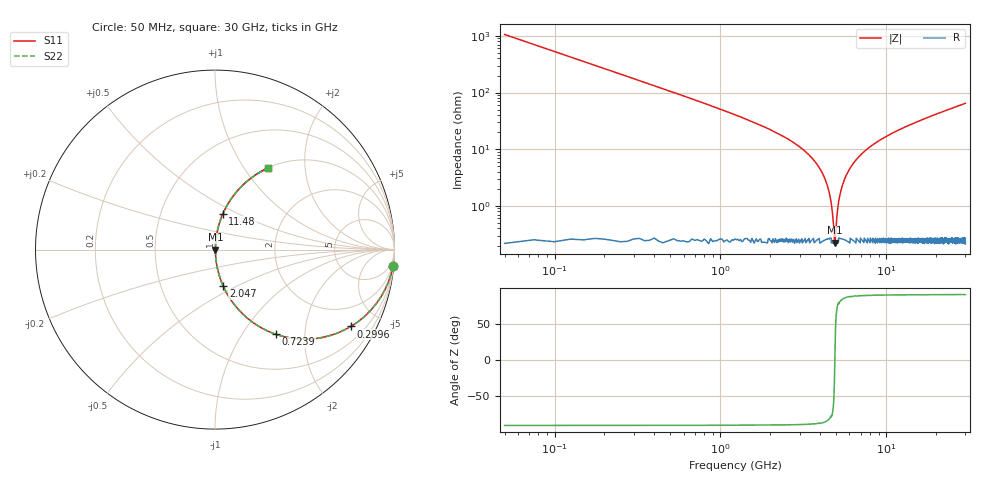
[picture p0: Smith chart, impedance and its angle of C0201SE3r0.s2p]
!	AVX Thin Film Operation 	Date: April 2014
!	Description: Accu-P® Series, Thin Film  SMD RF Capacitor
!	Part Number: 02013J3R0QBSTR
# MHZ S MA R 50
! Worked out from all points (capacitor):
!   1201 points, 50 MHz to 30 GHz, reference 50 ohm
!   read as one part in series: C = 3 pF near 199.8 MHz
!   lowest |Z| = 224 mohm at 4.892 GHz (marker M1)
!   series resonance near 4.898 GHz, so ESL is about 350 pH
!   S11 on the Smith chart (normalised r, x): 50 MHz: 1, -21; 299.6 MHz: 1.01, -3.53; 723.9 MHz: 1.00, -1.43; 2.047 GHz: 1.00, -0.43; 11.48 GHz: 1.00, +0.42; 30 GHz: 1.00, +1.29
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50  0.996 -5.4  0.094 84.6  0.094 84.6  0.996 -5.4
299.583  0.869 -29.5  0.493 60.4  0.493 60.4  0.869 -29.5
474.292  0.742 -42.0  0.669 47.9  0.669 47.9  0.742 -42.0
723.875  0.582 -54.2  0.811 35.6  0.811 35.6  0.582 -54.2
1223.042  0.376 -67.6  0.924 22.1  0.924 22.1  0.376 -67.6
2046.667  0.209 -77.3  0.976 12.0  0.976 12.0  0.209 -77.3
3319.542  0.086 -83.5  0.994 4.9  0.994 4.9  0.086 -83.5
4043.333  0.042 -84.3  0.997 2.4  0.997 2.4  0.042 -84.3
4517.542  0.018 -81.0  0.997 1.0  0.997 1.0  0.018 -81.0
4792.083  0.005306 -62.3  0.998 0.3  0.998 0.3  0.005306 -62.3
4891.917  0.002457 -5.9  0.998 0.0  0.998 0.0  0.002457 -5.9
5041.667  0.006724 68.3  0.998 -0.4  0.998 -0.4  0.006724 68.3
5216.375  0.014 79.1  0.997 -0.8  0.997 -0.8  0.014 79.1
5465.958  0.024 82.8  0.997 -1.4  0.997 -1.4  0.024 82.8
6339.5  0.056 84.3  0.996 -3.2  0.996 -3.2  0.056 84.3
7812.042  0.104 82.7  0.992 -6.0  0.992 -6.0  0.104 82.7
10058.29  0.167 79.6  0.984 -9.6  0.984 -9.6  0.167 79.6
11480.92  0.203 77.6  0.977 -11.7  0.977 -11.7  0.203 77.6
15025  0.284 73.0  0.956 -16.5  0.956 -16.5  0.284 73.0
20016.67  0.383 67.1  0.921 -22.5  0.921 -22.5  0.383 67.1
25033.29  0.469 61.8  0.881 -28.0  0.881 -28.0  0.469 61.8
30000  0.542 57.0  0.839 -32.8  0.839 -32.8  0.542 57.0
